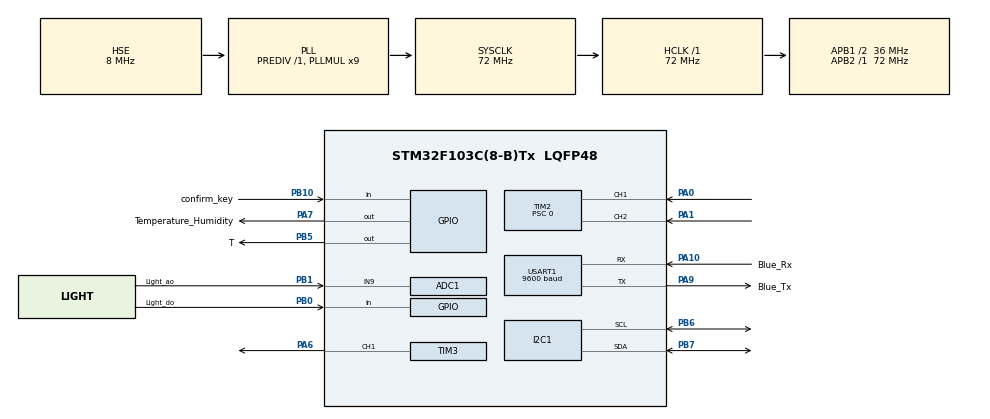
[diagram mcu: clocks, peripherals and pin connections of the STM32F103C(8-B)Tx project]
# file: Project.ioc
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ADC1.Channel-1\#ChannelRegularConversion=ADC_CHANNEL_9
ADC1.EnableAnalogWatchDog=false
ADC1.NbrOfConversion=1
ADC1.NbrOfConversionFlag=1
ADC1.Rank-1\#ChannelRegularConversion=1
ADC1.SamplingTime-1\#ChannelRegularConversion=ADC_SAMPLETIME_71CYCLES_5
ADC1.master=1
I2C1.I2C_Mode=I2C_Fast
Mcu.Family=STM32F1
Mcu.Name=STM32F103C(8-B)Tx
Mcu.Package=LQFP48
NVIC.PriorityGroup=NVIC_PRIORITYGROUP_4
NVIC.USART1_IRQn=true\:0\:0\:false\:false\:true\:true\:true\:true
PA0-WKUP.Signal=S_TIM2_CH1_ETR
PA1.Signal=S_TIM2_CH2
PA10.GPIO_Label=Blue_Rx
PA10.Mode=Asynchronous
PA10.Signal=USART1_RX
PA13.Mode=Serial_Wire
PA13.Signal=SYS_JTMS-SWDIO
PA14.Mode=Serial_Wire
PA14.Signal=SYS_JTCK-SWCLK
PA6.Signal=S_TIM3_CH1
PA7.GPIO_Label=Temperature_Humidity
PA7.GPIO_Speed=GPIO_SPEED_FREQ_HIGH
PA7.PinState=GPIO_PIN_SET
PA7.Signal=GPIO_Output
PA9.GPIO_Label=Blue_Tx
PA9.Mode=Asynchronous
PA9.Signal=USART1_TX
PB0.GPIO_Label=Light_do
PB0.GPIO_PuPd=GPIO_PULLUP
PB0.Signal=GPIO_Input
PB1.GPIO_Label=Light_ao
PB1.Signal=ADCx_IN9
PB10.GPIO_Label=confirm_key
PB10.GPIO_PuPd=GPIO_PULLUP
PB10.Signal=GPIO_Input
PB5.GPIO_Label=T
PB5.GPIO_PuPd=GPIO_PULLUP
PB5.GPIO_Speed=GPIO_SPEED_FREQ_HIGH
PB5.PinState=GPIO_PIN_SET
PB5.Signal=GPIO_Output
PB6.Mode=I2C
PB6.Signal=I2C1_SCL
PB7.Mode=I2C
PB7.Signal=I2C1_SDA
PD0-OSC_IN.Mode=HSE-External-Oscillator
PD0-OSC_IN.Signal=RCC_OSC_IN
PD1-OSC_OUT.Mode=HSE-External-Oscillator
PD1-OSC_OUT.Signal=RCC_OSC_OUT
ProjectManager.HeapSize=0x200
ProjectManager.StackSize=0x400
ProjectManager.TargetToolchain=CMake
RCC.ADCPresc=RCC_ADCPCLK2_DIV6
RCC.AHBFreq_Value=72000000
RCC.APB1CLKDivider=RCC_HCLK_DIV2
RCC.APB1Freq_Value=36000000
RCC.APB1TimFreq_Value=72000000
RCC.APB2Freq_Value=72000000
RCC.APB2TimFreq_Value=72000000
RCC.HCLKFreq_Value=72000000
RCC.PLLMUL=RCC_PLL_MUL9
RCC.PLLSourceVirtual=RCC_PLLSOURCE_HSE
RCC.SYSCLKFreq_VALUE=72000000
RCC.SYSCLKSource=RCC_SYSCLKSOURCE_PLLCLK
RCC.USBFreq_Value=72000000
SH.ADCx_IN9.0=ADC1_IN9,IN9
SH.S_TIM2_CH1_ETR.0=TIM2_CH1,Encoder_Interface
SH.S_TIM2_CH2.0=TIM2_CH2,Encoder_Interface
SH.S_TIM3_CH1.0=TIM3_CH1,PWM Generation1 CH1
TIM2.IC1Filter=15
TIM2.IC1Prescaler=TIM_ICPSC_DIV1
TIM2.IC2Filter=15
TIM2.IC2Prescaler=TIM_ICPSC_DIV1
TIM2.Period=65535
TIM2.Prescaler=0
TIM3.Channel-PWM\ Generation1\ CH1=TIM_CHANNEL_1
TIM3.Period=2000-1
TIM3.Prescaler=720-1
USART1.BaudRate=9600
USART1.VirtualMode=VM_ASYNC
VP_ADC1_TempSens_Input.Mode=IN-TempSens
VP_ADC1_Vref_Input.Mode=IN-Vrefint
board=custom

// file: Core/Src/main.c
/* USER CODE BEGIN Header */
/**
 ******************************************************************************
 * @file           : main.c
 * @brief          : Main program body
 ******************************************************************************
 * @attention
 *
 * Copyright (c) 2026 STMicroelectronics.
 * All rights reserved.
 *
 * This software is licensed under terms that can be found in the LICENSE file
 * in the root directory of this software component.
 * If no LICENSE file comes with this software, it is provided AS-IS.
 *
 ******************************************************************************
 */
/* USER CODE END Header */
#include "main.h"
#include "adc.h"
#include "gpio.h"
#include "i2c.h"
#include "tim.h"
#include "usart.h"

/* USER CODE BEGIN Includes */
#include "app_ui.h"
#include "bt.h"
#include "input.h"
#include "start.h"
#include "sys_info.h"
#include <stdio.h>
#include <string.h>

/* USER CODE END Includes */

void SystemClock_Config(void);

int main(void) {

  /* MCU Configuration--------------------------------------------------------*/

  /* Reset of all peripherals, Initializes the Flash interface and the Systick.
   */
  HAL_Init();

  /* Configure the system clock */
  SystemClock_Config();

  /* USER CODE BEGIN SysInit */
  /* 读取复位原因、填充栈哨兵、启动 DWT，必须尽早执行 */
  SysInfo_Init();
  /* USER CODE END SysInit */

  /* Initialize all configured peripherals */
  MX_GPIO_Init();
  MX_I2C1_Init();
  MX_USART1_UART_Init();
  MX_TIM2_Init();
  MX_TIM3_Init();
  MX_ADC1_Init();
  /* USER CODE BEGIN 2 */

  /* 延时等待外设稳定 */
  HAL_Delay(500);

  /* ADC 校准 */
  HAL_ADCEx_Calibration_Start(&hadc1);

  /* 启动舵机 PWM，并先把舵机摆到 0°。
   * CCR 初值为 0（无脉冲），不主动设置的话上电后舵机是"松"的。 */
  HAL_TIM_PWM_Start(&htim3, TIM_CHANNEL_1);
  Servo_SetAngle(0);

  /* 初始化输入（编码器 + 按键） */
  Input_Init();

  /* 初始化 MPU6050 */
  MPU6050_System_Init();

  /* 初始化 BASH_OLED + BASH_UI */
  if (App_UI_Init() != UI_OK) {
    /* UI 初始化失败，死循环 */
    while (1) {
    }
  }

  /* 启动蓝牙串口接收（中断驱动） */
  BT_Init();

  /* USER CODE END 2 */

  /* Infinite loop */
  /* USER CODE BEGIN WHILE */
  while (1) {
    /* 舵机平滑运动（扫描 / 角度插补）。
     * 必须每轮都调：内部按真实经过的毫秒数推进，
     * 就算前面被 DHT11 阻塞了 20ms，这一拍也会按 dt 补回来。 */
    Servo_Update(HAL_GetTick());

    /* 传感器定时读取（DHT11、DS18B20、光照、片内温度） */
    Sensor_Process();

    /* UI 处理（输入 + 刷新） */
    App_UI_Process();

    /* 处理业务事件 */
    App_UI_HandleEvents();

    /* 蓝牙命令解析与周期遥测 */
    BT_Process();

    /* 主循环负载统计（放在最后，统计一整轮耗时） */
    SysInfo_LoopTick();

    /* USER CODE END WHILE */

  }
}

void SystemClock_Config(void) {
  RCC_OscInitTypeDef RCC_OscInitStruct = {0};
  RCC_ClkInitTypeDef RCC_ClkInitStruct = {0};
  RCC_PeriphCLKInitTypeDef PeriphClkInit = {0};

  /** Initializes the RCC Oscillators according to the specified parameters
   * in the RCC_OscInitTypeDef structure.
   */
  RCC_OscInitStruct.OscillatorType = RCC_OSCILLATORTYPE_HSE;
  RCC_OscInitStruct.HSEState = RCC_HSE_ON;
  RCC_OscInitStruct.HSEPredivValue = RCC_HSE_PREDIV_DIV1;
  RCC_OscInitStruct.HSIState = RCC_HSI_ON;
  RCC_OscInitStruct.PLL.PLLState = RCC_PLL_ON;
  RCC_OscInitStruct.PLL.PLLSource = RCC_PLLSOURCE_HSE;
  RCC_OscInitStruct.PLL.PLLMUL = RCC_PLL_MUL9;
  if (HAL_RCC_OscConfig(&RCC_OscInitStruct) != HAL_OK) {
    Error_Handler();
  }

  /** Initializes the CPU, AHB and APB buses clocks
   */
  RCC_ClkInitStruct.ClockType = RCC_CLOCKTYPE_HCLK | RCC_CLOCKTYPE_SYSCLK |
                                RCC_CLOCKTYPE_PCLK1 | RCC_CLOCKTYPE_PCLK2;
  RCC_ClkInitStruct.SYSCLKSource = RCC_SYSCLKSOURCE_PLLCLK;
  RCC_ClkInitStruct.AHBCLKDivider = RCC_SYSCLK_DIV1;
  RCC_ClkInitStruct.APB1CLKDivider = RCC_HCLK_DIV2;
  RCC_ClkInitStruct.APB2CLKDivider = RCC_HCLK_DIV1;

  if (HAL_RCC_ClockConfig(&RCC_ClkInitStruct, FLASH_LATENCY_2) != HAL_OK) {
    Error_Handler();
  }
  PeriphClkInit.PeriphClockSelection = RCC_PERIPHCLK_ADC;
  PeriphClkInit.AdcClockSelection = RCC_ADCPCLK2_DIV6;
  if (HAL_RCCEx_PeriphCLKConfig(&PeriphClkInit) != HAL_OK) {
    Error_Handler();
  }
}

void Error_Handler(void) {
  __disable_irq();
  while (1) {
  }
}
#ifdef USE_FULL_ASSERT
/**
 * @brief  Reports the name of the source file and the source line number
 *         where the assert_param error has occurred.
 * @param  file: pointer to the source file name
 * @param  line: assert_param error line source number
 * @retval None
 */
void assert_failed(uint8_t *file, uint32_t line) {
  /* USER CODE BEGIN 6 */
  /* User can add his own implementation to report the file name and line
     number, ex: printf("Wrong parameters value: file %s on line %d\r\n", file,
     line) */
  /* USER CODE END 6 */
}
#endif /* USE_FULL_ASSERT */
